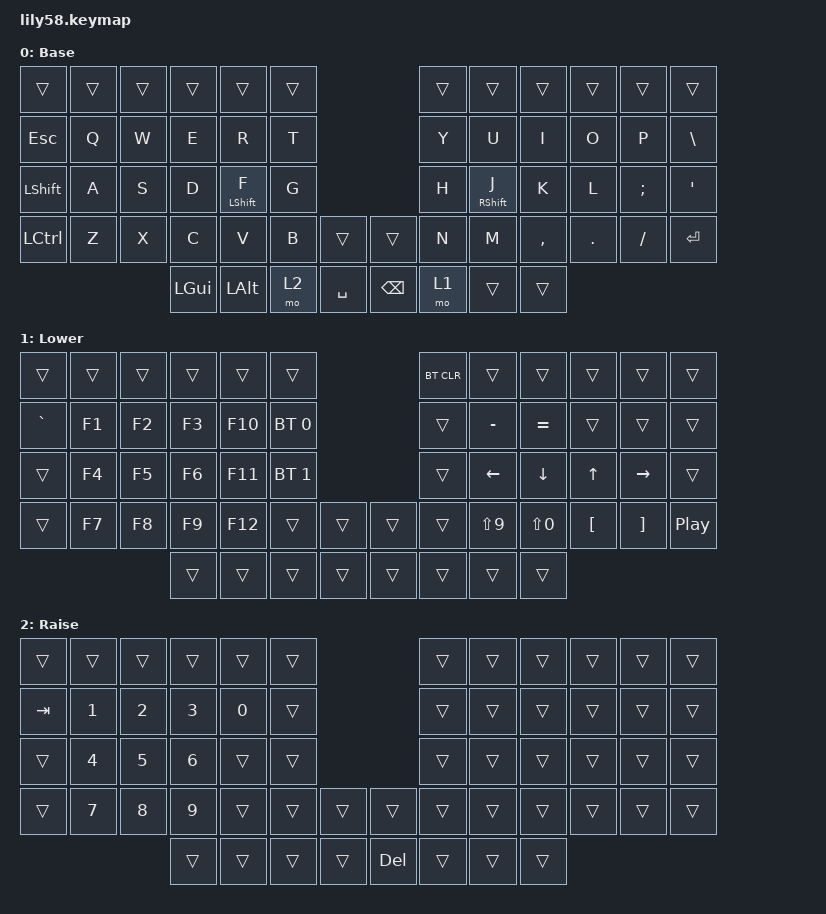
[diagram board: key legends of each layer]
/*
 * Copyright (c) 2020 The ZMK Contributors
 *
 * SPDX-License-Identifier: MIT
 */

#include <behaviors.dtsi>
#include <dt-bindings/zmk/bt.h>
#include <dt-bindings/zmk/keys.h>

/ {
    behaviors {
        hml: hml {
            compatible = "zmk,behavior-hold-tap";
            label = "HML";
            bindings = <&kp>, <&kp>;

            #binding-cells = <2>;
            tapping-term-ms = <280>;
            quick-tap-ms = <175>;
            require-prior-idle-ms = <150>;
            flavor = "balanced";
            hold-trigger-on-release;
            hold-trigger-key-positions = <50 51 52 53 54 55 56 57 43 6 18 30 44 7 9 10 11 19 20 21 22 23 31 32 33 34 35 45 46 47 48 49 8>;
        };

        hmr: hmr {
            compatible = "zmk,behavior-hold-tap";
            label = "HMR";
            bindings = <&kp>, <&kp>;

            #binding-cells = <2>;
            tapping-term-ms = <280>;
            quick-tap-ms = <175>;
            require-prior-idle-ms = <150>;
            flavor = "balanced";
            hold-trigger-key-positions = <0 1 2 3 4 5 12 13 14 15 16 17 24 25 26 27 28 29 36 37 38 39 40 41 42 50 51 52 53 54 55 56 57>;
            hold-trigger-on-release;
        };
    };

    keymap {
        compatible = "zmk,keymap";

        def {
            display-name = "Base";
            bindings = <
&trans      &trans  &trans  &trans        &trans             &trans                              &trans  &trans              &trans     &trans   &trans    &trans
&kp ESC     &kp Q   &kp W   &kp E         &kp R              &kp T                               &kp Y   &kp U               &kp I      &kp O    &kp P     &kp BACKSLASH
&kp LSHIFT  &kp A   &kp S   &kp D         &hml LEFT_SHIFT F  &kp G                               &kp H   &hmr RIGHT_SHIFT J  &kp K      &kp L    &kp SEMI  &kp SINGLE_QUOTE
&kp LCTRL   &kp Z   &kp X   &kp C         &kp V              &kp B   &trans       &trans         &kp N   &kp M               &kp COMMA  &kp DOT  &kp FSLH  &kp ENTER
                            &kp LEFT_GUI  &kp LALT           &mo 2   &kp SPACE    &kp BACKSPACE  &mo 1   &trans              &trans
            >;
        };

        nav {
            display-name = "Lower";
            bindings = <
&trans     &trans  &trans  &trans  &trans   &trans                          &bt BT_CLR  &trans      &trans      &trans            &trans             &trans
&kp GRAVE  &kp F1  &kp F2  &kp F3  &kp F10  &bt BT_SEL 0                    &trans      &kp MINUS   &kp EQUAL   &trans            &trans             &trans
&trans     &kp F4  &kp F5  &kp F6  &kp F11  &bt BT_SEL 1                    &trans      &kp LEFT    &kp DOWN    &kp UP            &kp RIGHT          &trans
&trans     &kp F7  &kp F8  &kp F9  &kp F12  &trans        &trans    &trans  &trans      &kp LS(N9)  &kp LS(N0)  &kp LEFT_BRACKET  &kp RIGHT_BRACKET  &kp C_PLAY_PAUSE
                           &trans  &trans   &trans        &trans    &trans  &trans      &trans      &trans
            >;
        };

        num {
            display-name = "Raise";
            bindings = <
&trans   &trans  &trans  &trans  &trans  &trans                     &trans  &trans  &trans  &trans  &trans  &trans
&kp TAB  &kp N1  &kp N2  &kp N3  &kp N0  &trans                     &trans  &trans  &trans  &trans  &trans  &trans
&trans   &kp N4  &kp N5  &kp N6  &trans  &trans                     &trans  &trans  &trans  &trans  &trans  &trans
&trans   &kp N7  &kp N8  &kp N9  &trans  &trans  &trans    &trans   &trans  &trans  &trans  &trans  &trans  &trans
                         &trans  &trans  &trans  &trans    &kp DEL  &trans  &trans  &trans
            >;
        };

        extra_1 { status = "reserved"; };

        extra_2 { status = "reserved"; };

        extra_3 { status = "reserved"; };
    };
};
